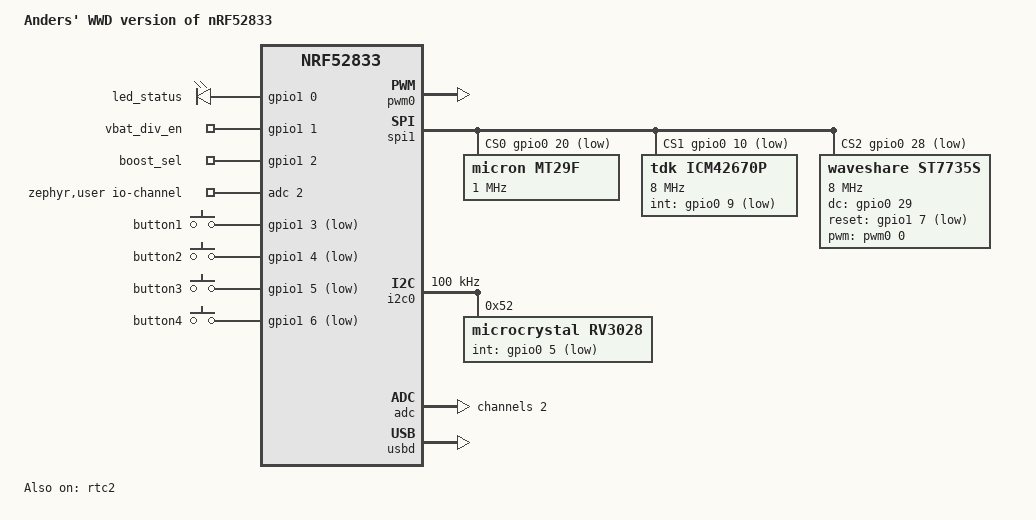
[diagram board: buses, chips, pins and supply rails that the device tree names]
/dts-v1/;
#include <nordic/nrf52833_qdaa.dtsi>
#include <dt-bindings/pwm/pwm.h>
#include "nrf52833_ders-pinctrl.dtsi"

/ {
	model = "Anders' WWD version of nRF52833";
	compatible = "Flavo,nrf52833-ders";

	chosen {
		zephyr,sram        = &sram0;
		zephyr,flash       = &flash0;
		zephyr,code-partition = &slot0_partition;
		zephyr,console     = &cdc_acm_uart0;
		zephyr,shell-uart  = &cdc_acm_uart0;
	};

	aliases {
		watchdog0 = &wdt0;
		display0  = &st7735s;
		led0      = &led_status;
		led1      = &led_status;
		led2      = &led_status;
	};

	leds {
		compatible = "gpio-leds";
		led_status: led_status {
			/* BISECT 2026-07-27: was <&mcp23008 5 ...> — MCP23008 node disabled
			 * below to test whether its auto-init is implicated in a boot hang.
			 * Redirected to a spare, otherwise-unused gpio1 pin so this compiles;
			 * LED1 remains non-functional either way (expander not populated). */
			gpios = <&gpio1 0 GPIO_ACTIVE_HIGH>;  /* was LED1 MCP23008 GP5 */
		};
	};

	power_ctrl {
		compatible = "gpio-leds";
		vbat_div_en: vbat_div_en {
			gpios = <&gpio1 1 GPIO_ACTIVE_HIGH>;  /* was VBAT_DIV_GPIO MCP23008 GP4 */
		};
		boost_sel: boost_sel {
			gpios = <&gpio1 2 GPIO_ACTIVE_HIGH>;  /* was BOOST_SEL MCP23008 GP6 */
		};
	};

	zephyr,user {
		io-channels = <&adc 2>;  /* AIN2 = P0.04: battery voltage divider output */
	};

	buttons {
		compatible = "gpio-keys";
		button1: button1 {
			gpios = <&gpio1 3 (GPIO_PULL_UP | GPIO_ACTIVE_LOW)>;  /* was BUTTON1 MCP23008 GP1 */
		};
		button2: button2 {
			gpios = <&gpio1 4 (GPIO_PULL_UP | GPIO_ACTIVE_LOW)>;  /* was BUTTON2 MCP23008 GP2 */
		};
		button3: button3 {
			gpios = <&gpio1 5 (GPIO_PULL_UP | GPIO_ACTIVE_LOW)>;  /* was BUTTON3 MCP23008 GP3 */
		};
		button4: button4 {
			gpios = <&gpio1 6 (GPIO_PULL_UP | GPIO_ACTIVE_LOW)>;  /* was BUTTON4 MCP23008 GP0 */
		};
	};
};

/* nRESET on P0.18 */
&uicr {
	gpio-as-nreset;

	/* P0.09 and P0.10 are the NFC antenna pins (NFC1/NFC2) and come up in NFC
	 * mode, not as GPIOs. Both are used by the IMU here — P0.10 is its SPI chip
	 * select and P0.09 is INT1 — so without this the IMU is unreachable: CS
	 * reads stuck low and never frames a transaction. */
	nfct-pins-as-gpios;
};

/* RTC2: 1-second tick source (RTC0 reserved for BLE, RTC1 is kernel timer) */
&rtc2 {
	status = "okay";
};

&gpiote {
	status = "okay";
};

&gpio0 {
	status = "okay";
};

&gpio1 {
	status = "okay";
};

/* PWM0: display backlight (DISP_LED_PWM, P0.11) drives the gate of the
 * LCD-power NMOS. Full duty cycle = gate held high = 100% brightness. */
&pwm0 {
	status = "okay";
	pinctrl-0 = <&pwm0_default>;
	pinctrl-1 = <&pwm0_sleep>;
	pinctrl-names = "default", "sleep";
};

/* SPI1: flash, IMU, display */
&spi1 {
	compatible = "nordic,nrf-spim";
	status = "okay";
	pinctrl-0 = <&spi1_default>;
	pinctrl-1 = <&spi1_sleep>;
	pinctrl-names = "default", "sleep";

	/* CS: NVS flash P0.20, IMU P0.10, display P0.28 */
	cs-gpios = <&gpio0 20 GPIO_ACTIVE_LOW>,
	           <&gpio0 10 GPIO_ACTIVE_LOW>,
	           <&gpio0 28 GPIO_ACTIVE_LOW>;

	mt29f: mt29f@0 {
		compatible = "micron,mt29f";
		reg = <0>;
		spi-max-frequency = <1000000>;
		frame-format = <0>;
		status = "okay";
	};

	icm42670p: icm42670p@1 {
		compatible = "tdk,icm42670p";
		reg = <1>;
		spi-max-frequency = <8000000>;
		int-gpios = <&gpio0 9 GPIO_ACTIVE_LOW>;   /* IMU_INT1 P0.09 */
		accel-hz = <100>;
		gyro-hz  = <100>;
		accel-fs = <2>;
		gyro-fs  = <250>;
		status = "okay";
	};

	st7735s: st7735s@2 {
		compatible = "waveshare,st7735s";
		reg = <2>;
		spi-max-frequency = <8000000>;
		dc-gpios    = <&gpio0    29 GPIO_ACTIVE_HIGH>;  /* DISP_DC P0.29 */
		reset-gpios = <&gpio1  7 GPIO_ACTIVE_LOW>;   /* BISECT: was DISP_RESET MCP23008 GP7 */
		pwms        = <&pwm0 0 PWM_USEC(100) PWM_POLARITY_NORMAL>; /* DISP_LED_PWM P0.11, 10 kHz */
		status = "okay";
	};
};

/* I2C0: MCP23008 GPIO expander (buttons, LED, display reset, boost) */
&i2c0 {
	compatible = "nordic,nrf-twim";
	status = "okay";
	pinctrl-0 = <&i2c0_default>;
	pinctrl-1 = <&i2c0_sleep>;
	pinctrl-names = "default", "sleep";
	clock-frequency = <I2C_BITRATE_STANDARD>;

	mcp23008: mcp23008@20 {
		compatible = "microchip,mcp23008";
		reg = <0x20>;
		gpio-controller;
		#gpio-cells = <2>;
		ngpios = <8>;
		int-gpios = <&gpio0 3 GPIO_ACTIVE_LOW>;   /* IO_INT P0.03 */
		/* BISECT 2026-07-27: disabled to test whether the driver's auto-init
		 * (POST_KERNEL, fails every boot since 0x20 doesn't ACK — not
		 * populated on this board) is implicated in a pre-nvs_init() hang.
		 * All consumers above temporarily redirected to spare gpio1 pins so
		 * the build still links. Revert (status="okay", point consumers back
		 * at &mcp23008) once this test is done either way. */
		status = "disabled";
	};

	rv3028: rv3028@52 {
		compatible = "microcrystal,rv3028";
		reg = <0x52>;
		backup-switch-mode = "direct";            /* coin cell on VBACKUP */
		int-gpios = <&gpio0 5 GPIO_ACTIVE_LOW>;   /* RTC_INT P0.05 */
		/* RTC_CLKOUT is wired to XL1 (P0.00) — no crystal is populated on
		 * this board, so this is the intended LF clock source. The driver
		 * stores this in the RV-3028's EEPROM, so CLKOUT comes up from POR
		 * without needing I2C first. Omitting this property drives CLKOUT
		 * LOW, which would leave the SoC with no LF source at all. */
		clkout-frequency = <32768>;
		/* The RV-3028 does not respond on I2C this early after a cold
		 * power-on, so the automatic POST_KERNEL init fails with -ENODEV
		 * and Zephyr latches that failure permanently (do_device_init()
		 * sets initialized=true even on error, so device_init() then
		 * returns -EALREADY). Defer the bind and let the application call
		 * device_init() once the part is awake. */
		zephyr,deferred-init;
		status = "okay";
	};
};

/* ADC: battery voltage sense on AIN2 (P0.04), 1:2 divider, enable via VBAT_DIV_GPIO (MCP23008 GP4) */
&adc {
	status = "okay";
	#address-cells = <1>;
	#size-cells = <0>;

	channel@2 {
		reg = <2>;
		zephyr,gain = "ADC_GAIN_1_6";
		zephyr,reference = "ADC_REF_INTERNAL";
		zephyr,acquisition-time = <ADC_ACQ_TIME_DEFAULT>;
		zephyr,input-positive = <NRF_SAADC_AIN2>;  /* P0.04 */
	};
};

/* USB CDC console — D+/D- are hardware pins, no pinctrl needed.
 * Two ACM instances on one composite USB device: uart0 stays the
 * human-readable console/shell/log stream exactly as before; uart1 is a
 * second, independent /dev/ttyACM* the host uses purely for the binary
 * host<->device command protocol (src/comm/protocol.[ch]), so command
 * framing never has to coexist with interleaved log text on the wire. */
zephyr_udc0: &usbd {
	compatible = "nordic,nrf-usbd";
	status = "okay";

	cdc_acm_uart0: cdc_acm_uart0 {
		compatible = "zephyr,cdc-acm-uart";
	};

	cdc_acm_uart1: cdc_acm_uart1 {
		compatible = "zephyr,cdc-acm-uart";
	};
};

&flash0 {
	partitions {
		compatible = "fixed-partitions";
		#address-cells = <1>;
		#size-cells = <1>;

		boot_partition: partition@0 {
			label = "mcuboot";
			reg = <0x00000000 DT_SIZE_K(48)>;
		};

		slot0_partition: partition@c000 {
			label = "image-0";
			reg = <0x0000c000 DT_SIZE_K(220)>;
		};

		slot1_partition: partition@43000 {
			label = "image-1";
			reg = <0x00043000 DT_SIZE_K(220)>;
		};

		storage_partition: partition@7a000 {
			label = "storage";
			reg = <0x0007a000 DT_SIZE_K(24)>;
		};
	};
};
